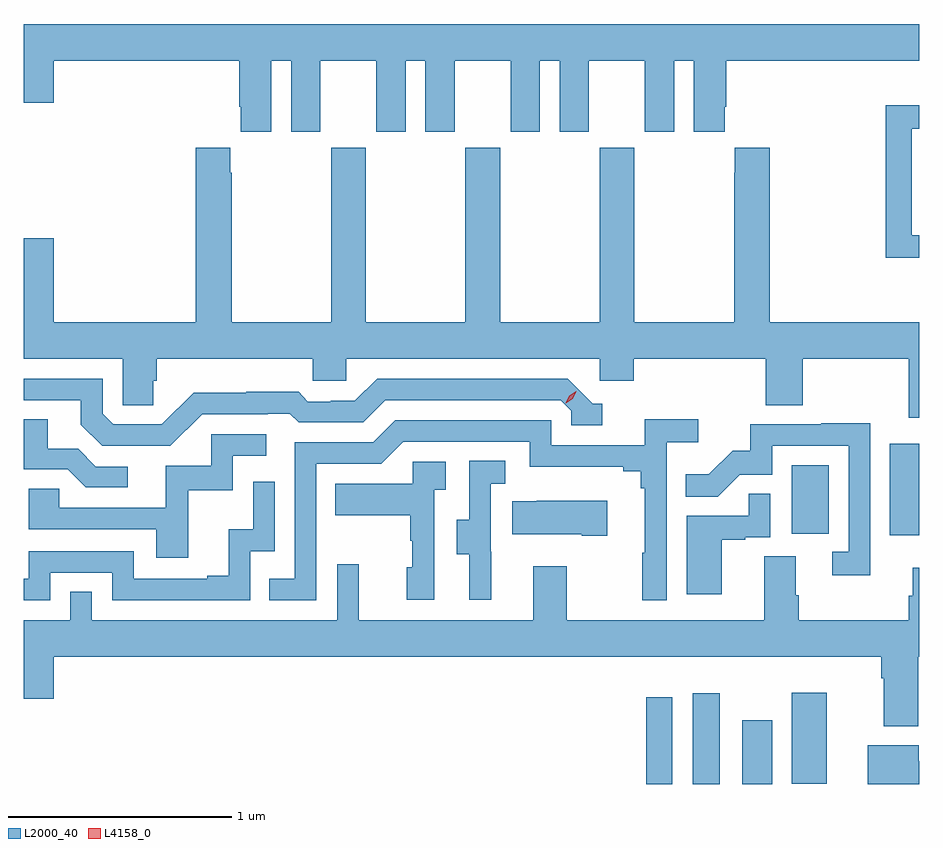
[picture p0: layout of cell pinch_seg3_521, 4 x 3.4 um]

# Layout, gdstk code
import gdstk
lib = gdstk.Library(unit=1e-6, precision=1e-09)
def R(c, l, rs):  # rectangles x0, y0, x1, y1
    for r in rs: c.add(gdstk.rectangle(r[:2], r[2:], *l))
def P(c, l, *ps):  # polygons
    for p in ps: c.add(gdstk.Polygon(p, *l))
L2000_40 = (2000, 40)
L4158_0 = (4158, 0)

pinch_seg3_521 = lib.new_cell('pinch_seg3_521')
R(pinch_seg3_521, L2000_40, [(1102.882,693.688,1102.998,694.075), (1103.09,693.688,1103.212,694.093), (1103.312,693.688,1103.446,693.973), (1103.534,693.69,1103.689,694.096), (1103.972,694.799,1104.102,695.209), (1103.534,694.806,1103.698,695.113)])
P(pinch_seg3_521, L2000_40, [(1101.208,696.92),(1101.296,696.92),(1101.296,696.603),(1101.427,696.603),(1101.427,696.92),(1101.677,696.92),(1101.677,696.603),(1101.808,696.603),(1101.808,696.92),(1101.896,696.92),(1101.896,696.603),(1102.027,696.603),(1102.027,696.92),(1102.277,696.92),(1102.277,696.603),(1102.408,696.603),(1102.408,696.92),(1102.496,696.92),(1102.496,696.603),(1102.627,696.603),(1102.627,696.92),(1102.877,696.92),(1102.877,696.603),(1103.008,696.603),(1103.008,696.92),(1103.096,696.92),(1103.096,696.603),(1103.233,696.603),(1103.233,696.715),(1103.24,696.715),(1103.24,696.92),(1104.102,696.92),(1104.102,697.084),(1100.102,697.084),(1100.102,696.732),(1100.236,696.732),(1100.236,696.92),(1101.065,696.92),(1101.065,696.715),(1101.071,696.715),(1101.071,696.603),(1101.208,696.603)],
  [(1104.102,696.141),(1104.069,696.141),(1104.069,696.615),(1104.102,696.615),(1104.102,696.721),(1103.953,696.721),(1103.953,696.04),(1104.102,696.04)],
  [(1104.102,695.752),(1103.435,695.752),(1103.435,696.532),(1103.279,696.532),(1103.279,696.419),(1103.275,696.419),(1103.275,695.752),(1102.83,695.752),(1102.83,696.532),(1102.675,696.532),(1102.675,695.752),(1102.23,695.752),(1102.23,696.532),(1102.075,696.532),(1102.075,695.752),(1101.63,695.752),(1101.63,696.532),(1101.475,696.532),(1101.475,695.752),(1101.03,695.752),(1101.03,696.419),(1101.025,696.419),(1101.025,696.532),(1100.87,696.532),(1100.87,695.752),(1100.236,695.752),(1100.236,696.127),(1100.102,696.127),(1100.102,695.588),(1100.544,695.588),(1100.544,695.38),(1100.681,695.38),(1100.681,695.49),(1100.696,695.49),(1100.696,695.588),(1101.393,695.588),(1101.393,695.49),(1101.543,695.49),(1101.543,695.588),(1102.674,695.588),(1102.674,695.49),(1102.826,695.49),(1102.826,695.588),(1103.417,695.588),(1103.417,695.38),(1103.582,695.38),(1103.582,695.588),(1104.055,695.588),(1104.055,695.325),(1104.102,695.325)],
  [(1100.898,695.34),(1101.191,695.34),(1101.191,695.343),(1101.29,695.343),(1101.329,695.304),(1101.618,695.304),(1101.717,695.403),(1102.5,695.403),(1102.548,695.355),(1102.548,695.292),(1102.687,695.292),(1102.687,695.388),(1102.644,695.388),(1102.533,695.499),(1101.68,695.499),(1101.581,695.4),(1101.474,695.4),(1101.474,695.397),(1101.371,695.397),(1101.329,695.44),(1101.096,695.44),(1101.096,695.437),(1100.86,695.437),(1100.718,695.295),(1100.502,695.295),(1100.454,695.343),(1100.454,695.499),(1100.102,695.499),(1100.102,695.403),(1100.357,695.403),(1100.357,695.293),(1100.451,695.199),(1100.757,695.199)],
  [(1101.408,695.118),(1101.699,695.118),(1101.798,695.217),(1102.362,695.217),(1102.362,695.105),(1102.781,695.105),(1102.781,695.086),(1102.858,695.086),(1102.858,695.009),(1102.877,695.009),(1102.877,694.721),(1102.866,694.721),(1102.866,694.509),(1102.974,694.509),(1102.974,695.216),(1103.116,695.216),(1103.116,695.318),(1102.877,695.318),(1102.877,695.202),(1102.458,695.202),(1102.458,695.313),(1101.761,695.313),(1101.662,695.214),(1101.312,695.214),(1101.312,694.605),(1101.199,694.605),(1101.199,694.509),(1101.408,694.509)],
  [(1100.566,695.106),(1100.424,695.106),(1100.344,695.186),(1100.209,695.186),(1100.209,695.318),(1100.102,695.318),(1100.102,695.094),(1100.297,695.094),(1100.378,695.013),(1100.566,695.013)],
  [(1103.883,695.3),(1103.665,695.3),(1103.665,695.295),(1103.347,695.295),(1103.347,695.178),(1103.27,695.178),(1103.163,695.071),(1103.059,695.071),(1103.059,694.972),(1103.203,694.972),(1103.301,695.07),(1103.445,695.07),(1103.445,695.199),(1103.787,695.199),(1103.787,694.725),(1103.715,694.725),(1103.715,694.62),(1103.883,694.62)],
  [(1100.837,695.001),(1101.036,695.001),(1101.036,695.154),(1101.184,695.154),(1101.184,695.25),(1100.94,695.25),(1100.94,695.109),(1100.735,695.109),(1100.735,694.923),(1100.261,694.923),(1100.261,695.007),(1100.124,695.007),(1100.124,694.827),(1100.693,694.827),(1100.693,694.698),(1100.837,694.698)],
  [(1102.19,694.725),(1102.188,694.725),(1102.188,695.029),(1102.252,695.029),(1102.252,695.132),(1102.092,695.132),(1102.092,694.869),(1102.037,694.869),(1102.037,694.714),(1102.091,694.714),(1102.091,694.512),(1102.19,694.512)],
  [(1101.936,695.003),(1101.988,695.003),(1101.988,695.127),(1101.84,695.127),(1101.84,695.029),(1101.493,695.029),(1101.493,694.889),(1101.828,694.889),(1101.828,694.775),(1101.838,694.775),(1101.838,694.656),(1101.812,694.656),(1101.812,694.512),(1101.936,694.512)],
  [(1100.22,694.632),(1100.496,694.632),(1100.496,694.509),(1101.114,694.509),(1101.114,694.728),(1101.222,694.728),(1101.222,695.038),(1101.126,695.038),(1101.126,694.826),(1101.017,694.826),(1101.017,694.618),(1100.921,694.618),(1100.921,694.605),(1100.592,694.605),(1100.592,694.728),(1100.124,694.728),(1100.124,694.605),(1100.102,694.605),(1100.102,694.509),(1100.22,694.509)],
  [(1103.221,694.779),(1103.325,694.779),(1103.325,694.791),(1103.436,694.791),(1103.436,694.985),(1103.341,694.985),(1103.341,694.887),(1103.063,694.887),(1103.063,694.536),(1103.221,694.536)],
  [(1102.708,694.954),(1102.393,694.954),(1102.393,694.951),(1102.285,694.951),(1102.285,694.805),(1102.595,694.805),(1102.595,694.798),(1102.708,694.798)],
  [(1104.098,694.256),(1104.102,694.256),(1104.102,694.654),(1104.074,694.654),(1104.074,694.529),(1104.055,694.529),(1104.055,694.42),(1103.564,694.42),(1103.564,694.532),(1103.551,694.532),(1103.551,694.706),(1103.411,694.706),(1103.411,694.42),(1102.527,694.42),(1102.527,694.66),(1102.379,694.66),(1102.379,694.42),(1101.599,694.42),(1101.599,694.669),(1101.501,694.669),(1101.501,694.42),(1100.406,694.42),(1100.406,694.547),(1100.31,694.547),(1100.31,694.42),(1100.102,694.42),(1100.102,694.068),(1100.236,694.068),(1100.236,694.256),(1103.933,694.256),(1103.933,694.16),(1103.945,694.16),(1103.945,693.947),(1104.098,693.947)],
  [(1104.102,693.79),(1104.1,693.79),(1104.1,693.862),(1103.873,693.862),(1103.873,693.688),(1104.102,693.688)])
P(pinch_seg3_521, L4158_0, [(1102.523,695.39),(1102.523,695.39),(1102.539,695.422),(1102.569,695.442),(1102.57,695.442),(1102.57,695.442),(1102.554,695.409),(1102.524,695.39)])

lib.write_gds('pinch_seg3_521.gds')
